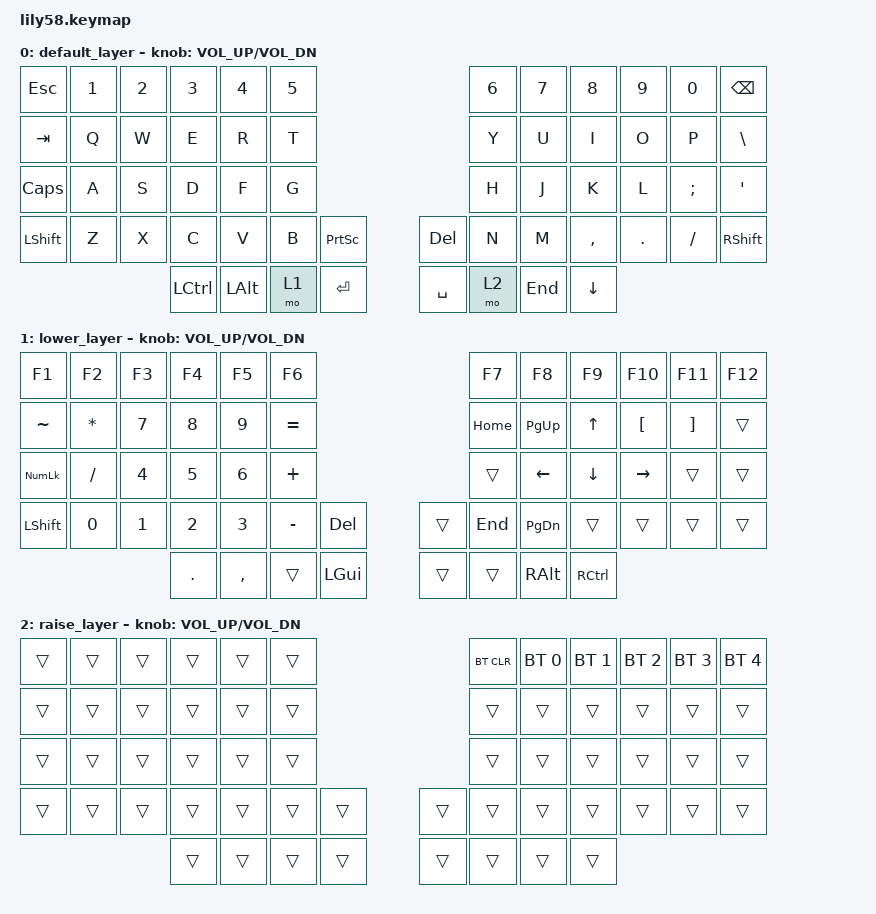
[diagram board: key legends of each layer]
/*
 * Copyright (c) 2020 The ZMK Contributors
 *
 * SPDX-License-Identifier: MIT
 */

#include <behaviors.dtsi>
#include <dt-bindings/zmk/keys.h>
#include <dt-bindings/zmk/bt.h>
#include <dt-bindings/zmk/ext_power.h>

/ {
    keymap {
        compatible = "zmk,keymap";

        default_layer {
// ------------------------------------------------------------------------------------------------------------
// |  ESC  |  1  |  2  |  3   |  4   |  5   |                   |  6   |  7    |  8    |  9   |   0   |   BS  |
// |  TAB  |  Q  |  W  |  E   |  R   |  T   |                   |  Y   |  U    |  I    |  O   |   P   |   \   |
// |  CAPS |  A  |  S  |  D   |  F   |  G   |                   |  H   |  J    |  K    |  L   |   ;   |   '   |
// | SHIFT |  Z  |  X  |  C   |  V   |  B   |   PRSC |  |  DEL  |  N   |  M    |  ,    |  .   |   /   | SHIFT |
//                     | CTRL | ALT  | LOWER|  ENTER |  | SPACE | RAISE| END   | DOWN   |
            bindings = <
&kp ESC   &kp N1 &kp N2 &kp N3    &kp N4   &kp N5                             &kp N6 &kp N7   &kp N8    &kp N9  &kp N0   &kp BACKSPACE
&kp TAB   &kp Q  &kp W  &kp E     &kp R    &kp T                              &kp Y  &kp U    &kp I     &kp O   &kp P    &kp BACKSLASH
&kp CAPS  &kp A  &kp S  &kp D     &kp F    &kp G                              &kp H  &kp J    &kp K     &kp L   &kp SEMI &kp SQT
&kp LSHFT &kp Z  &kp X  &kp C     &kp V    &kp B  &kp PRINTSCREEN   &kp DEL   &kp N  &kp M    &kp COMMA &kp DOT &kp FSLH &kp RSHFT
                        &kp LCTRL &kp LALT &mo 1  &kp RET           &kp SPACE &mo 2  &kp END  &kp DOWN
            >;

            sensor-bindings = <&inc_dec_kp C_VOL_UP C_VOL_DN>;
        };

        lower_layer {
// ------------------------------------------------------------------------------------------------------------
// |  F1   |  F2 |  F3 |  F4  |  F5  |  F6  |                   | F7   |  F8   |  F9   |  F10 |  F11  |  F12  |
// |  ~    |  *  |  7  |  8   |  9   |  =   |                   | HOME | PG_UP |   ^   |  [   |  ]    |       |
// |  NLCK |  /  |  4  |  5   |  6   |  +   |                   |      |   <-  |   v   |  ->  |       |       |
// | LShft |  0  |  1  |  2   |  3   |  -   |  DEL   |  |       | END  | PG_DN |       |      |       |       |
//                     |  .   |  ,   |      |  LGUI  |  |       |      | ALT   |  CTRL |
            bindings = <
&kp F1     &kp F2           &kp F3    &kp F4         &kp F5       &kp F6                           &kp F7    &kp F8    &kp F9     &kp F10    &kp F11   &kp F12
&kp TILDE  &kp ASTERISK     &kp N7    &kp N8         &kp N9       &kp EQUAL                        &kp HOME  &kp PG_UP &kp UP     &kp LBKT   &kp RBKT  &trans
&kp KP_NUM   &kp SLASH       &kp N4    &kp N5         &kp N6       &kp PLUS                         &trans    &kp LEFT  &kp DOWN   &kp RIGHT  &trans    &trans
&kp LSHFT  &kp N0           &kp N1    &kp N2         &kp N3       &kp MINUS     &kp DEL  &trans    &kp END   &kp PG_DN &trans     &trans     &trans    &trans
                                      &kp DOT        &kp COMMA    &trans        &kp LGUI &trans    &trans    &kp RALT  &kp RCTRL
            >;

            sensor-bindings = <&inc_dec_kp C_VOL_UP C_VOL_DN>;
        };

        raise_layer {
// ------------------------------------------------------------------------------------------------------------
// |       |     |     |      |      |      |                   |BTCLR | BT1   |   BT2 |  BT3 |  BT4  |  BT5  |
// |       |     |     |      |      |      |                   |      |       |       |      |       |       |
// |       |     |     |      |      |      |                   |      |       |       |      |       |       |
// |       |     |     |      |      |      |        |  |       |      |       |       |      |       |       |
//                     |      |      |      |        |  |       |      |       |       |
            bindings = <
&trans    &trans &trans &trans  &trans  &trans                       &bt BT_CLR  &bt BT_SEL 0   &bt BT_SEL 1    &bt BT_SEL 2    &bt BT_SEL 3 &bt BT_SEL 4
&trans    &trans &trans &trans  &trans  &trans                       &trans      &trans         &trans          &trans          &trans       &trans
&trans    &trans &trans &trans  &trans  &trans                       &trans      &trans         &trans          &trans          &trans       &trans
&trans    &trans &trans &trans  &trans  &trans    &trans   &trans    &trans      &trans         &trans          &trans          &trans       &trans
                        &trans  &trans  &trans    &trans   &trans    &trans      &trans         &trans
            >;

            sensor-bindings = <&inc_dec_kp C_VOL_UP C_VOL_DN>;
        };
    };
};
